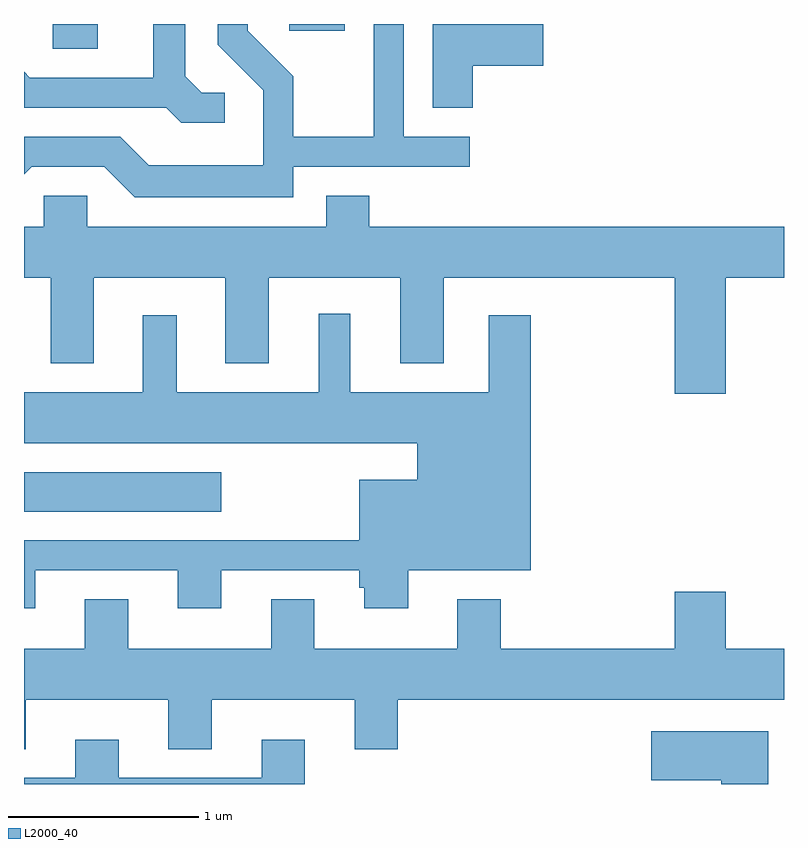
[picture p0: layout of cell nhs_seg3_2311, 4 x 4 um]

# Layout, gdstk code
import gdstk
lib = gdstk.Library(unit=1e-6, precision=1e-09)
def R(c, l, rs):  # rectangles x0, y0, x1, y1
    for r in rs: c.add(gdstk.rectangle(r[:2], r[2:], *l))
def P(c, l, *ps):  # polygons
    for p in ps: c.add(gdstk.Polygon(p, *l))
L2000_40 = (2000, 40)

nhs_seg3_2311 = lib.new_cell('nhs_seg3_2311')
R(nhs_seg3_2311, L2000_40, [(251.611,1251.326,252.649,1251.534), (251.761,1253.761,251.999,1253.892), (253.006,1253.856,253.299,1253.892)])
P(nhs_seg3_2311, L2000_40, [(253.974,1253.671),(254.344,1253.671),(254.344,1253.892),(253.761,1253.892),(253.761,1253.451),(253.974,1253.451)],
  [(252.668,1253.529),(252.547,1253.529),(252.459,1253.617),(252.459,1253.892),(252.291,1253.892),(252.291,1253.609),(251.642,1253.609),(251.611,1253.64),(251.611,1253.451),(252.359,1253.451),(252.439,1253.371),(252.668,1253.371)],
  [(253.029,1253.141),(253.958,1253.141),(253.958,1253.299),(253.609,1253.299),(253.609,1253.892),(253.451,1253.892),(253.451,1253.299),(253.029,1253.299),(253.029,1253.617),(252.789,1253.857),(252.789,1253.892),(252.631,1253.892),(252.631,1253.784),(252.871,1253.544),(252.871,1253.149),(252.267,1253.149),(252.117,1253.299),(251.611,1253.299),(251.611,1253.1),(251.652,1253.141),(252.034,1253.141),(252.194,1252.981),(253.029,1252.981)],
  [(255.304,1252.556),(255.611,1252.556),(255.611,1252.824),(253.429,1252.824),(253.429,1252.989),(253.201,1252.989),(253.201,1252.824),(251.944,1252.824),(251.944,1252.989),(251.716,1252.989),(251.716,1252.824),(251.611,1252.824),(251.611,1252.556),(251.751,1252.556),(251.751,1252.106),(251.979,1252.106),(251.979,1252.556),(252.671,1252.556),(252.671,1252.106),(252.899,1252.106),(252.899,1252.556),(253.591,1252.556),(253.591,1252.106),(253.819,1252.106),(253.819,1252.556),(255.036,1252.556),(255.036,1251.946),(255.304,1251.946)],
  [(251.669,1251.016),(252.421,1251.016),(252.421,1250.816),(252.649,1250.816),(252.649,1251.016),(253.376,1251.016),(253.376,1250.926),(253.401,1250.926),(253.401,1250.816),(253.634,1250.816),(253.634,1251.016),(254.279,1251.016),(254.279,1252.359),(254.056,1252.359),(254.056,1251.954),(253.329,1251.954),(253.329,1252.368),(253.161,1252.368),(253.161,1251.954),(252.414,1251.954),(252.414,1252.359),(252.236,1252.359),(252.236,1251.954),(251.611,1251.954),(251.611,1251.686),(253.681,1251.686),(253.681,1251.494),(253.376,1251.494),(253.376,1251.174),(251.611,1251.174),(251.611,1250.816),(251.669,1250.816)],
  [(251.619,1250.336),(252.371,1250.336),(252.371,1250.076),(252.599,1250.076),(252.599,1250.336),(253.351,1250.336),(253.351,1250.076),(253.579,1250.076),(253.579,1250.336),(255.611,1250.336),(255.611,1250.604),(255.304,1250.604),(255.304,1250.904),(255.036,1250.904),(255.036,1250.604),(254.119,1250.604),(254.119,1250.864),(253.891,1250.864),(253.891,1250.604),(253.139,1250.604),(253.139,1250.864),(252.911,1250.864),(252.911,1250.604),(252.159,1250.604),(252.159,1250.864),(251.931,1250.864),(251.931,1250.604),(251.611,1250.604),(251.611,1250.076),(251.619,1250.076)],
  [(255.529,1250.169),(254.911,1250.169),(254.911,1249.911),(255.281,1249.911),(255.281,1249.892),(255.529,1249.892)],
  [(253.089,1250.124),(252.861,1250.124),(252.861,1249.924),(252.109,1249.924),(252.109,1250.124),(251.881,1250.124),(251.881,1249.924),(251.611,1249.924),(251.611,1249.892),(253.089,1249.892)])

lib.write_gds('nhs_seg3_2311.gds')
